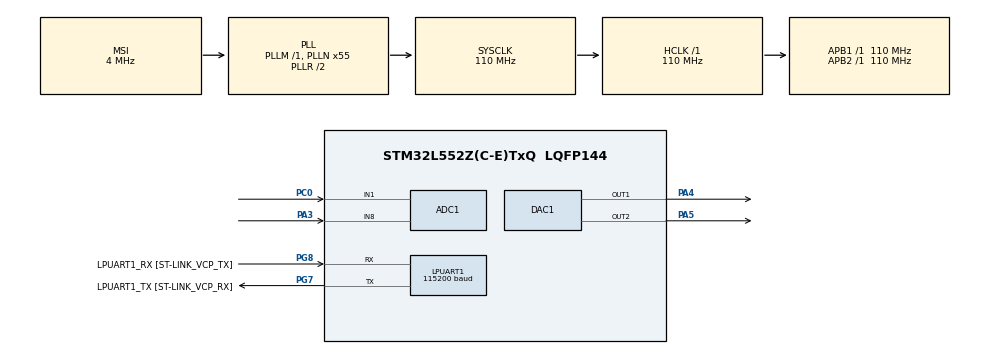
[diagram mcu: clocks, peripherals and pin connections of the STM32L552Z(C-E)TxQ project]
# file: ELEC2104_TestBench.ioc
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ADC1.Channel-0\#ChannelRegularConversion=ADC_CHANNEL_1
ADC1.Channel-1\#ChannelRegularConversion=ADC_CHANNEL_8
ADC1.ClockPrescaler=ADC_CLOCK_ASYNC_DIV4
ADC1.NbrOfConversion=2
ADC1.NbrOfConversionFlag=1
ADC1.OffsetNumber-0\#ChannelRegularConversion=ADC_OFFSET_NONE
ADC1.OffsetNumber-1\#ChannelRegularConversion=ADC_OFFSET_NONE
ADC1.Rank-0\#ChannelRegularConversion=1
ADC1.Rank-1\#ChannelRegularConversion=2
ADC1.SamplingTime-0\#ChannelRegularConversion=ADC_SAMPLETIME_47CYCLES_5
ADC1.SamplingTime-1\#ChannelRegularConversion=ADC_SAMPLETIME_47CYCLES_5
ADC1.master=1
DAC1.DAC_Channel-DAC_OUT2=DAC_CHANNEL_2
LPUART1.BaudRate=115200
Mcu.Family=STM32L5
Mcu.Name=STM32L552Z(C-E)TxQ
Mcu.Package=LQFP144
Mcu.TrustZone=disable
NVIC.PriorityGroup=NVIC_PRIORITYGROUP_3
NVIC.TIM6_IRQn=true\:1\:0\:true\:false\:true\:true\:true\:true
PA13\ (JTMS/SWDIO).Signal=DEBUG_JTMS-SWDIO
PA14\ (JTCK/SWCLK).Signal=DEBUG_JTCK-SWCLK
PA3.Signal=ADCx_IN8
PA4.Signal=COMP_DAC11_group
PA5.Signal=COMP_DAC12_group
PB3\ (JTDO/TRACESWO).Signal=DEBUG_JTDO-SWO
PC0.Signal=ADCx_IN1
PC14-OSC32_IN\ (PC14).Signal=RCC_OSC32_IN
PC15-OSC32_OUT\ (PC15).Signal=RCC_OSC32_OUT
PG7.GPIO_Label=LPUART1_TX [ST-LINK_VCP_RX]
PG7.Mode=Asynchronous
PG7.Signal=LPUART1_TX
PG8.GPIO_Label=LPUART1_RX [ST-LINK_VCP_TX]
PG8.Mode=Asynchronous
PG8.Signal=LPUART1_RX
ProjectManager.HeapSize=0x200
ProjectManager.StackSize=0x400
ProjectManager.TargetToolchain=CMake
RCC.ADCCLockSelection=RCC_ADCCLKSOURCE_SYSCLK
RCC.ADCFreq_Value=110000000
RCC.AHBFreq_Value=110000000
RCC.APB1Freq_Value=110000000
RCC.APB1TimFreq_Value=110000000
RCC.APB2Freq_Value=110000000
RCC.APB2TimFreq_Value=110000000
RCC.CK48CLockSelection=RCC_USBCLKSOURCE_HSI48
RCC.CortexFreq_Value=110000000
RCC.HCLKFreq_Value=110000000
RCC.HSE_VALUE=8000000
RCC.HSI48_VALUE=48000000
RCC.HSI_VALUE=16000000
RCC.LSE_VALUE=32768
RCC.MSI_VALUE=4000000
RCC.PLLN=55
RCC.PLLSAI1N=24
RCC.RTCClockSelection=RCC_RTCCLKSOURCE_LSE
RCC.SYSCLKFreq_VALUE=110000000
RCC.SYSCLKSource=RCC_SYSCLKSOURCE_PLLCLK
RCC.USBFreq_Value=48000000
RCC.VCOOutputFreq_Value=220000000
SH.ADCx_IN1.0=ADC1_IN1,IN1-Single-Ended
SH.ADCx_IN8.0=ADC1_IN8,IN8-Single-Ended
SH.COMP_DAC11_group.0=DAC1_OUT1,DAC_OUT1
SH.COMP_DAC12_group.0=DAC1_OUT2,DAC_OUT2
TIM6.AutoReloadPreload=TIM_AUTORELOAD_PRELOAD_ENABLE
TIM6.Period=499
TIM6.Prescaler=109
VP_ICACHE_VS_ICACHE.Mode=DirectMappedCache
VP_PWR_VS_DBSignals.Mode=DisableDeadBatterySignals
VP_PWR_VS_SECSignals.Mode=Security/Privilege
VP_TIM6_VS_ClockSourceINT.Mode=Enable_Timer
board=NUCLEO-L552ZE-Q

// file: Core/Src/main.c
/* USER CODE BEGIN Header */
/**
  ******************************************************************************
  * @file           : main.c
  * @brief          : Main program body
  ******************************************************************************
  * @attention
  *
  * Copyright (c) 2026 STMicroelectronics.
  * All rights reserved.
  *
  * This software is licensed under terms that can be found in the LICENSE file
  * in the root directory of this software component.
  * If no LICENSE file comes with this software, it is provided AS-IS.
  *
  ******************************************************************************
  */
/* USER CODE END Header */
#include "main.h"

/* USER CODE BEGIN Includes */
#include <stdio.h>
#include <string.h>
#include <math.h>
/* USER CODE END Includes */

/* USER CODE BEGIN PD */
/* ----- ELEC2104 Stage II test bench ---------------------------------------
 * PA4 DAC1_OUT1 : sine  --[R_SER]--+-- node X --> C1(+) of Stage II
 *                                  |
 *                               [R_SH]
 *                                  |
 * PA5 DAC1_OUT2 : DC 2.5 V --------+
 * PC0 (A5) ADC1_IN1 <- jumper from PA4 (measures the source sine)
 * PA3 (A0) ADC1_IN8 <- LM358 pin 1 via 10k/10k divider
 * ------------------------------------------------------------------------ */
#define FS_HZ        2000.0f     /* TIM6 update rate = sample rate          */
#define VDDA_MV      3300.0f     /* nominal analog supply                    */
#define DAC_MID      2048.0f     /* DAC1 centre ~1.65 V                      */
#define DAC2_DC_MV   2500.0f     /* DC bias at C1 input (like collector)     */

#define R_SER        20000.0f    /* put MEASURED values here                 */
#define R_SH         100.0f
#define K_ATT        (R_SH / (R_SER + R_SH))

#define OUT_DIV      2.0f        /* (10k + 10k) / 10k on LM358 output         */
#define OUT_CLIP_MV  3300.0f     /* LM358 @5V cannot swing much above ~3.5 V  */
#define OUT_FLOOR_MV 80.0f       /* ...or below ~50 mV                        */

#define N_FREQ 17
/* USER CODE END PD */

ADC_HandleTypeDef hadc1;

DAC_HandleTypeDef hdac1;

UART_HandleTypeDef hlpuart1;

TIM_HandleTypeDef htim6;

/* USER CODE BEGIN PV */
static const float freqs[N_FREQ] = {
  0.2f, 0.3f, 0.5f, 0.7f, 1.0f, 1.5f, 2.0f, 3.0f, 5.0f,
  7.0f, 10.0f, 15.0f, 20.0f, 30.0f, 50.0f, 70.0f, 100.0f
};

typedef struct {
  float f, gain, gain_db, phase_deg, vin_mvpp, vout_mvpp, vout_dc_mv;
  int   clipped;
} BodePoint;

static BodePoint pts[N_FREQ];
static float     sin_lut[256];

/* Lock-in state shared with the TIM6 ISR */
static volatile uint32_t phase_acc, tuning_word;
static volatile uint32_t n_settle, n_meas, n_count;
static volatile uint8_t  lockin_busy;
static volatile float    dac_amp = 620.0f;   /* +/-620 counts = 1 Vpp -> ~4.5 mVpp at node X */
static volatile uint16_t ymin, ymax;
static double sx, sy, sxs, sxc, sys, syc, ss, sc;
/* USER CODE END PV */

void SystemClock_Config(void);
static void MX_GPIO_Init(void);
static void MX_ADC1_Init(void);
static void MX_DAC1_Init(void);
static void MX_ICACHE_Init(void);
static void MX_LPUART1_UART_Init(void);
static void MX_TIM6_Init(void);

/* USER CODE BEGIN 0 */
/* Route printf to the ST-LINK virtual COM port */
int __io_putchar(int ch)
{
  uint8_t c = (uint8_t)ch;
  HAL_UART_Transmit(&hlpuart1, &c, 1, HAL_MAX_DELAY);
  return ch;
}

static inline float cnt_to_mv(double cnt) { return (float)(cnt * VDDA_MV / 4095.0); }

static float vin_mvpp_setting(void)
{
  return 2.0f * dac_amp * (VDDA_MV / 4095.0f) * K_ATT;
}

/* Run the lock-in at one frequency and fill one BodePoint */
static BodePoint measure(float f)
{
  float settle_s = fmaxf(2.0f / f, 2.0f);              /* >= 2 cycles and >= 2 s */
  float cycles   = ceilf(fmaxf(4.0f, f * 1.0f));        /* >= 4 cycles and >= 1 s */

  __disable_irq();
  sx = sy = sxs = sxc = sys = syc = ss = sc = 0.0;
  ymin = 4095; ymax = 0;
  tuning_word = (uint32_t)((double)f / FS_HZ * 4294967296.0);
  n_settle    = (uint32_t)(settle_s * FS_HZ);
  n_meas      = (uint32_t)lroundf(cycles * FS_HZ / f);
  n_count     = 0;
  lockin_busy = 1;
  __enable_irq();

  while (lockin_busy) { }

  double N  = (double)n_meas;
  double mx = sx / N, my = sy / N;
  double Xi = sxs - mx * ss, Xq = sxc - mx * sc;        /* remove DC leakage */
  double Yi = sys - my * ss, Yq = syc - my * sc;
  double ax = 2.0 * sqrt(Xi * Xi + Xq * Xq) / N;        /* peak amplitude, counts */
  double ay = 2.0 * sqrt(Yi * Yi + Yq * Yq) / N;

  BodePoint p = {0};
  p.f          = f;
  p.gain       = (ax > 0.0) ? (float)((ay * OUT_DIV) / (ax * K_ATT)) : 0.0f;
  p.gain_db    = (p.gain > 0.0f) ? 20.0f * log10f(p.gain) : -999.0f;
  p.vin_mvpp   = 2.0f * cnt_to_mv(ax) * K_ATT;
  p.vout_mvpp  = 2.0f * cnt_to_mv(ay) * OUT_DIV;
  p.vout_dc_mv = cnt_to_mv(my) * OUT_DIV;

  float ph = (float)((atan2(Yq, Yi) - atan2(Xq, Xi)) * 180.0 / M_PI);
  while (ph > 180.0f)   ph -= 360.0f;
  while (ph <= -180.0f) ph += 360.0f;
  p.phase_deg = ph;

  float out_max = cnt_to_mv(ymax) * OUT_DIV, out_min = cnt_to_mv(ymin) * OUT_DIV;
  p.clipped = (out_max > OUT_CLIP_MV) || (out_min < OUT_FLOOR_MV);
  return p;
}

/* Log-interpolated frequency where gain crosses 'level' between i and j */
static float cross_freq(int i, int j, float level)
{
  float t = (level - pts[i].gain) / (pts[j].gain - pts[i].gain);
  return powf(10.0f, log10f(pts[i].f) + t * (log10f(pts[j].f) - log10f(pts[i].f)));
}

static void run_sweep(void)
{
  printf("\r\nSweep start: Vin ~ %.2f mVpp, %d points (low freqs are slow)\r\n",
         vin_mvpp_setting(), N_FREQ);
  printf("     f(Hz)    gain    dB     phase   Vin(mVpp) Vout(mVpp) Vout_DC(mV)\r\n");

  for (int k = 0; k < N_FREQ; k++) {
    pts[k] = measure(freqs[k]);
    BodePoint *p = &pts[k];
    printf("%10.2f %7.1f %6.1f %8.1f %10.2f %10.1f %10.0f %s\r\n",
           p->f, p->gain, p->gain_db, p->phase_deg,
           p->vin_mvpp, p->vout_mvpp, p->vout_dc_mv, p->clipped ? "CLIP!" : "");
  }
  tuning_word = 0;

  /* -3 dB points */
  int kmax = 0;
  for (int k = 1; k < N_FREQ; k++) if (pts[k].gain > pts[kmax].gain) kmax = k;
  float g3 = 0.7071f * pts[kmax].gain;
  float fL = -1.0f, fH = -1.0f;
  for (int k = kmax; k > 0; k--)          if (pts[k-1].gain < g3) { fL = cross_freq(k-1, k, g3); break; }
  for (int k = kmax; k < N_FREQ - 1; k++) if (pts[k+1].gain < g3) { fH = cross_freq(k, k+1, g3); break; }

  printf("\r\nPeak gain = %.1f V/V (%.1f dB) at %.2f Hz\r\n",
         pts[kmax].gain, pts[kmax].gain_db, pts[kmax].f);
  if (fL > 0) printf("f_L (-3 dB) = %.2f Hz\r\n", fL); else printf("f_L below sweep range\r\n");
  if (fH > 0) printf("f_H (-3 dB) = %.2f Hz\r\n", fH); else printf("f_H above sweep range\r\n");

  /* Machine-readable block for plot_bode.py */
  printf("BEGIN\r\n");
  for (int k = 0; k < N_FREQ; k++)
    printf("DATA,%.3f,%.3f,%.2f,%.2f,%.3f,%.2f,%.0f,%d\r\n",
           pts[k].f, pts[k].gain, pts[k].gain_db, pts[k].phase_deg,
           pts[k].vin_mvpp, pts[k].vout_mvpp, pts[k].vout_dc_mv, pts[k].clipped);
  printf("END\r\n");
}

/* No signal: check DC operating point (should be ~V_ref ~1.3 V) */
static void dc_check(void)
{
  float save = dac_amp;
  dac_amp = 0.0f;
  BodePoint p = measure(1.0f);
  dac_amp = save;
  tuning_word = 0;
  printf("\r\nNo input: LM358 output DC = %.0f mV (expect ~1300 mV = V_ref)\r\n", p.vout_dc_mv);
  if (p.vout_dc_mv < 300.0f)  printf("  ! stuck low - check bias network / pin 3\r\n");
  if (p.vout_dc_mv > 3000.0f) printf("  ! stuck high - check feedback wiring\r\n");
}

static void print_menu(void)
{
  printf("\r\n=== ELEC2104 TestBench: STAGE II (filter/amp) ===\r\n");
  printf(" d : DC check (output bias, no signal)\r\n");
  printf(" s : Bode sweep %.1f - %.0f Hz\r\n", freqs[0], freqs[N_FREQ - 1]);
  printf(" + / - : double / halve input amplitude (now %.2f mVpp)\r\n> ", vin_mvpp_setting());
}

/* Sample-rate ISR: read Vin monitor + Vout, accumulate, write next DAC value */
void HAL_TIM_PeriodElapsedCallback(TIM_HandleTypeDef *htim)
{
  if (htim->Instance != TIM6) return;

  /* 1. Sample both channels (they show the DAC value written last tick) */
  HAL_ADC_Start(&hadc1);
  HAL_ADC_PollForConversion(&hadc1, 1);
  uint16_t x = (uint16_t)HAL_ADC_GetValue(&hadc1);   /* rank 1: DAC monitor  */
  HAL_ADC_PollForConversion(&hadc1, 1);
  uint16_t y = (uint16_t)HAL_ADC_GetValue(&hadc1);   /* rank 2: LM358 output */

  uint32_t idx = phase_acc >> 24;

  if (lockin_busy) {
    if (n_settle) {
      n_settle--;
    } else if (n_count < n_meas) {
      float s = sin_lut[idx];
      float c = sin_lut[(idx + 64u) & 255u];
      sx  += x;      sy  += y;
      sxs += x * s;  sxc += x * c;
      sys += y * s;  syc += y * c;
      ss  += s;      sc  += c;
      if (y < ymin) ymin = y;
      if (y > ymax) ymax = y;
      if (++n_count >= n_meas) lockin_busy = 0;
    }
  }

  /* 2. Advance phase and output the next sine sample */
  phase_acc += tuning_word;
  idx = phase_acc >> 24;
  HAL_DAC_SetValue(&hdac1, DAC_CHANNEL_1, DAC_ALIGN_12B_R,
                   (uint32_t)(DAC_MID + dac_amp * sin_lut[idx]));
}
/* USER CODE END 0 */

int main(void)
{

  /* MCU Configuration--------------------------------------------------------*/

  /* Reset of all peripherals, Initializes the Flash interface and the Systick. */
  HAL_Init();

  /* Configure the system clock */
  SystemClock_Config();

  /* Initialize all configured peripherals */
  MX_GPIO_Init();
  MX_ADC1_Init();
  MX_DAC1_Init();
  MX_ICACHE_Init();
  MX_LPUART1_UART_Init();
  MX_TIM6_Init();
  /* USER CODE BEGIN 2 */
  for (int i = 0; i < 256; i++) sin_lut[i] = sinf(2.0f * (float)M_PI * i / 256.0f);

  HAL_ADCEx_Calibration_Start(&hadc1, ADC_SINGLE_ENDED);

  HAL_DAC_SetValue(&hdac1, DAC_CHANNEL_1, DAC_ALIGN_12B_R, (uint32_t)DAC_MID);
  HAL_DAC_SetValue(&hdac1, DAC_CHANNEL_2, DAC_ALIGN_12B_R,
                   (uint32_t)(DAC2_DC_MV / VDDA_MV * 4095.0f));
  HAL_DAC_Start(&hdac1, DAC_CHANNEL_1);
  HAL_DAC_Start(&hdac1, DAC_CHANNEL_2);

  /* Sanity check: TIM6 must tick at exactly 2000 Hz */
  {
    uint32_t pclk1  = HAL_RCC_GetPCLK1Freq();
    uint32_t timclk = (READ_BIT(RCC->CFGR, RCC_CFGR_PPRE1) == RCC_HCLK_DIV1) ? pclk1 : 2u * pclk1;
    uint32_t f_upd  = timclk / ((htim6.Init.Prescaler + 1u) * (htim6.Init.Period + 1u));
    printf("\r\nTIM6 clock = %lu Hz, update = %lu Hz (need 2000)\r\n",
           (unsigned long)timclk, (unsigned long)f_upd);
  }

  HAL_TIM_Base_Start_IT(&htim6);
  print_menu();
  /* USER CODE END 2 */

  /* Infinite loop */
  while (1)
  {

    /* USER CODE BEGIN 3 */
    uint8_t c;
    if (HAL_UART_Receive(&hlpuart1, &c, 1, 10) == HAL_OK) {
      switch (c) {
        case 'd': dc_check();  break;
        case 's': run_sweep(); break;
        case '+': if (dac_amp * 2.0f <= 2000.0f) dac_amp *= 2.0f; break;
        case '-': dac_amp *= 0.5f; break;
        default:  break;
      }
      if (c != '\r' && c != '\n') print_menu();
    }
  }
  /* USER CODE END 3 */
}

void SystemClock_Config(void)
{
  RCC_OscInitTypeDef RCC_OscInitStruct = {0};
  RCC_ClkInitTypeDef RCC_ClkInitStruct = {0};

  /** Configure the main internal regulator output voltage
  */
  if (HAL_PWREx_ControlVoltageScaling(PWR_REGULATOR_VOLTAGE_SCALE0) != HAL_OK)
  {
    Error_Handler();
  }

  /** Initializes the RCC Oscillators according to the specified parameters
  * in the RCC_OscInitTypeDef structure.
  */
  RCC_OscInitStruct.OscillatorType = RCC_OSCILLATORTYPE_MSI;
  RCC_OscInitStruct.MSIState = RCC_MSI_ON;
  RCC_OscInitStruct.MSICalibrationValue = RCC_MSICALIBRATION_DEFAULT;
  RCC_OscInitStruct.MSIClockRange = RCC_MSIRANGE_6;
  RCC_OscInitStruct.PLL.PLLState = RCC_PLL_ON;
  RCC_OscInitStruct.PLL.PLLSource = RCC_PLLSOURCE_MSI;
  RCC_OscInitStruct.PLL.PLLM = 1;
  RCC_OscInitStruct.PLL.PLLN = 55;
  RCC_OscInitStruct.PLL.PLLP = RCC_PLLP_DIV7;
  RCC_OscInitStruct.PLL.PLLQ = RCC_PLLQ_DIV2;
  RCC_OscInitStruct.PLL.PLLR = RCC_PLLR_DIV2;
  if (HAL_RCC_OscConfig(&RCC_OscInitStruct) != HAL_OK)
  {
    Error_Handler();
  }

  /** Initializes the CPU, AHB and APB buses clocks
  */
  RCC_ClkInitStruct.ClockType = RCC_CLOCKTYPE_HCLK|RCC_CLOCKTYPE_SYSCLK
                              |RCC_CLOCKTYPE_PCLK1|RCC_CLOCKTYPE_PCLK2;
  RCC_ClkInitStruct.SYSCLKSource = RCC_SYSCLKSOURCE_PLLCLK;
  RCC_ClkInitStruct.AHBCLKDivider = RCC_SYSCLK_DIV1;
  RCC_ClkInitStruct.APB1CLKDivider = RCC_HCLK_DIV1;
  RCC_ClkInitStruct.APB2CLKDivider = RCC_HCLK_DIV1;

  if (HAL_RCC_ClockConfig(&RCC_ClkInitStruct, FLASH_LATENCY_5) != HAL_OK)
  {
    Error_Handler();
  }
}

static void MX_ADC1_Init(void)
{

  ADC_MultiModeTypeDef multimode = {0};
  ADC_ChannelConfTypeDef sConfig = {0};

  /** Common config
  */
  hadc1.Instance = ADC1;
  hadc1.Init.ClockPrescaler = ADC_CLOCK_SYNC_PCLK_DIV4;
  hadc1.Init.Resolution = ADC_RESOLUTION_12B;
  hadc1.Init.DataAlign = ADC_DATAALIGN_RIGHT;
  hadc1.Init.ScanConvMode = ADC_SCAN_ENABLE;
  hadc1.Init.EOCSelection = ADC_EOC_SINGLE_CONV;
  hadc1.Init.LowPowerAutoWait = DISABLE;
  hadc1.Init.ContinuousConvMode = DISABLE;
  hadc1.Init.NbrOfConversion = 2;
  hadc1.Init.DiscontinuousConvMode = DISABLE;
  hadc1.Init.ExternalTrigConv = ADC_SOFTWARE_START;
  hadc1.Init.ExternalTrigConvEdge = ADC_EXTERNALTRIGCONVEDGE_NONE;
  hadc1.Init.DMAContinuousRequests = DISABLE;
  hadc1.Init.Overrun = ADC_OVR_DATA_OVERWRITTEN;
  hadc1.Init.OversamplingMode = DISABLE;
  if (HAL_ADC_Init(&hadc1) != HAL_OK)
  {
    Error_Handler();
  }

  /** Configure the ADC multi-mode
  */
  multimode.Mode = ADC_MODE_INDEPENDENT;
  if (HAL_ADCEx_MultiModeConfigChannel(&hadc1, &multimode) != HAL_OK)
  {
    Error_Handler();
  }

  /** Configure Regular Channel
  */
  sConfig.Channel = ADC_CHANNEL_1;
  sConfig.Rank = ADC_REGULAR_RANK_1;
  sConfig.SamplingTime = ADC_SAMPLETIME_47CYCLES_5;
  sConfig.SingleDiff = ADC_SINGLE_ENDED;
  sConfig.OffsetNumber = ADC_OFFSET_NONE;
  sConfig.Offset = 0;
  if (HAL_ADC_ConfigChannel(&hadc1, &sConfig) != HAL_OK)
  {
    Error_Handler();
  }

  /** Configure Regular Channel
  */
  sConfig.Channel = ADC_CHANNEL_8;
  sConfig.Rank = ADC_REGULAR_RANK_2;
  if (HAL_ADC_ConfigChannel(&hadc1, &sConfig) != HAL_OK)
  {
    Error_Handler();
  }

}

static void MX_DAC1_Init(void)
{

  DAC_ChannelConfTypeDef sConfig = {0};

  /** DAC Initialization
  */
  hdac1.Instance = DAC1;
  if (HAL_DAC_Init(&hdac1) != HAL_OK)
  {
    Error_Handler();
  }

  /** DAC channel OUT1 config
  */
  sConfig.DAC_SampleAndHold = DAC_SAMPLEANDHOLD_DISABLE;
  sConfig.DAC_Trigger = DAC_TRIGGER_NONE;
  sConfig.DAC_HighFrequency = DAC_HIGH_FREQUENCY_INTERFACE_MODE_ABOVE_80MHZ;
  sConfig.DAC_OutputBuffer = DAC_OUTPUTBUFFER_ENABLE;
  sConfig.DAC_ConnectOnChipPeripheral = DAC_CHIPCONNECT_DISABLE;
  sConfig.DAC_UserTrimming = DAC_TRIMMING_FACTORY;
  if (HAL_DAC_ConfigChannel(&hdac1, &sConfig, DAC_CHANNEL_1) != HAL_OK)
  {
    Error_Handler();
  }

  /** DAC channel OUT2 config
  */
  if (HAL_DAC_ConfigChannel(&hdac1, &sConfig, DAC_CHANNEL_2) != HAL_OK)
  {
    Error_Handler();
  }

}

static void MX_ICACHE_Init(void)
{

  /** Enable instruction cache in 1-way (direct mapped cache)
  */
  if (HAL_ICACHE_ConfigAssociativityMode(ICACHE_1WAY) != HAL_OK)
  {
    Error_Handler();
  }
  if (HAL_ICACHE_Enable() != HAL_OK)
  {
    Error_Handler();
  }

}

static void MX_LPUART1_UART_Init(void)
{

  hlpuart1.Instance = LPUART1;
  hlpuart1.Init.BaudRate = 115200;
  hlpuart1.Init.WordLength = UART_WORDLENGTH_8B;
  hlpuart1.Init.StopBits = UART_STOPBITS_1;
  hlpuart1.Init.Parity = UART_PARITY_NONE;
  hlpuart1.Init.Mode = UART_MODE_TX_RX;
  hlpuart1.Init.HwFlowCtl = UART_HWCONTROL_NONE;
  hlpuart1.Init.OneBitSampling = UART_ONE_BIT_SAMPLE_DISABLE;
  hlpuart1.Init.ClockPrescaler = UART_PRESCALER_DIV1;
  hlpuart1.AdvancedInit.AdvFeatureInit = UART_ADVFEATURE_NO_INIT;
  hlpuart1.FifoMode = UART_FIFOMODE_DISABLE;
  if (HAL_UART_Init(&hlpuart1) != HAL_OK)
  {
    Error_Handler();
  }
  if (HAL_UARTEx_SetTxFifoThreshold(&hlpuart1, UART_TXFIFO_THRESHOLD_1_8) != HAL_OK)
  {
    Error_Handler();
  }
  if (HAL_UARTEx_SetRxFifoThreshold(&hlpuart1, UART_RXFIFO_THRESHOLD_1_8) != HAL_OK)
  {
    Error_Handler();
  }
  if (HAL_UARTEx_DisableFifoMode(&hlpuart1) != HAL_OK)
  {
    Error_Handler();
  }

}

static void MX_TIM6_Init(void)
{

  TIM_MasterConfigTypeDef sMasterConfig = {0};

  htim6.Instance = TIM6;
  htim6.Init.Prescaler = 109;
  htim6.Init.CounterMode = TIM_COUNTERMODE_UP;
  htim6.Init.Period = 499;
  htim6.Init.AutoReloadPreload = TIM_AUTORELOAD_PRELOAD_ENABLE;
  if (HAL_TIM_Base_Init(&htim6) != HAL_OK)
  {
    Error_Handler();
  }
  sMasterConfig.MasterOutputTrigger = TIM_TRGO_RESET;
  sMasterConfig.MasterSlaveMode = TIM_MASTERSLAVEMODE_DISABLE;
  if (HAL_TIMEx_MasterConfigSynchronization(&htim6, &sMasterConfig) != HAL_OK)
  {
    Error_Handler();
  }

}

static void MX_GPIO_Init(void)
{

  /* GPIO Ports Clock Enable */
  __HAL_RCC_GPIOC_CLK_ENABLE();
  __HAL_RCC_GPIOA_CLK_ENABLE();
  __HAL_RCC_GPIOG_CLK_ENABLE();
  HAL_PWREx_EnableVddIO2();
  __HAL_RCC_GPIOB_CLK_ENABLE();

}

void Error_Handler(void)
{
  __disable_irq();
  while (1)
  {
  }
}
